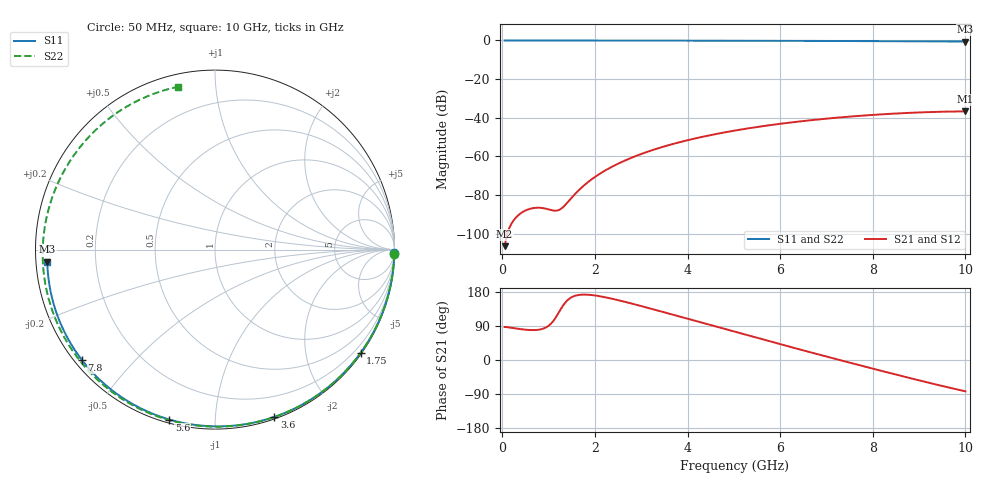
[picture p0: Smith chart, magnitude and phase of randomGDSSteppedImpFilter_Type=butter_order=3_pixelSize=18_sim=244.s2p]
! freq	dB(S11)	phase(S11)	dB(S12)	phase(S12)
!  dB(S21)	phase(S21)	dB(S22)	phase(S22)
!S-par simulation data
#  GHz  S  DB  R 50
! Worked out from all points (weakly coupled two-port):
!   200 points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, 50 MHz to 10 GHz, reference 50 ohm
!   highest |S21| = -36.73 dB at 10 GHz (marker M1); lowest = -106.6 dB at 50 MHz (marker M2)
!   lowest |S11| = -0.6 dB at 10 GHz (marker M3), VSWR 30.70, Z = 1.63 - j1.81 ohm
!   |S11| at or under -10 dB: nowhere
!   |S22| runs from -0.6 to 0.0 dB; largest |S21 - S12| = 0
!   S11 on the Smith chart (normalised r, x): 50 MHz: open; 1.75 GHz: 0.03, -3.13; 3.6 GHz: 0.02, -1.42; 5.6 GHz: 0.02, -0.77; 7.8 GHz: 0.02, -0.36; 10 GHz: 0.03, -0.04
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0.05  -0.00 -1.0  -106.56 87.2  -106.56 87.2  -0.01 -1.4
0.4  -0.01 -8.2  -89.49 81.4  -89.49 81.4  -0.01 -11.2
0.75  -0.02 -15.4  -86.65 79.4  -86.65 79.4  -0.02 -21.0
1.55  -0.04 -31.4  -80.08 168.5  -80.08 168.5  -0.05 -42.8
1.75  -0.05 -35.4  -75.40 172.6  -75.40 172.6  -0.06 -48.1
2.05  -0.05 -41.3  -69.92 169.4  -69.92 169.4  -0.07 -56.1
2.45  -0.06 -49.0  -64.43 159.4  -64.43 159.4  -0.08 -66.4
2.9  -0.07 -57.6  -59.71 145.6  -59.71 145.6  -0.10 -77.8
3.4  -0.09 -66.8  -55.60 129.1  -55.60 129.1  -0.12 -90.1
3.6  -0.09 -70.5  -54.19 122.4  -54.19 122.4  -0.12 -95.0
4.3  -0.12 -83.0  -50.03 98.7  -50.03 98.7  -0.15 -111.6
5.05  -0.15 -95.9  -46.56 73.4  -46.56 73.4  -0.19 -128.9
5.6  -0.17 -105.1  -44.48 55.0  -44.48 55.0  -0.23 -141.6
6.15  -0.20 -114.1  -42.72 36.8  -42.72 36.8  -0.26 -154.2
6.7  -0.24 -122.9  -41.22 18.8  -41.22 18.8  -0.31 -167.0
7.25  -0.28 -131.6  -39.96 1.1  -39.96 1.1  -0.36 179.8
7.8  -0.32 -140.3  -38.90 -16.5  -38.90 -16.5  -0.41 166.1
8.35  -0.38 -149.0  -38.04 -33.8  -38.04 -33.8  -0.46 151.7
8.75  -0.42 -155.4  -37.55 -46.1  -37.55 -46.1  -0.51 140.6
9.15  -0.46 -161.8  -37.16 -58.2  -37.16 -58.2  -0.55 129.1
9.6  -0.52 -169.2  -36.86 -71.5  -36.86 -71.5  -0.59 115.4
10  -0.57 -175.8  -36.73 -82.7  -36.73 -82.7  -0.63 102.6
